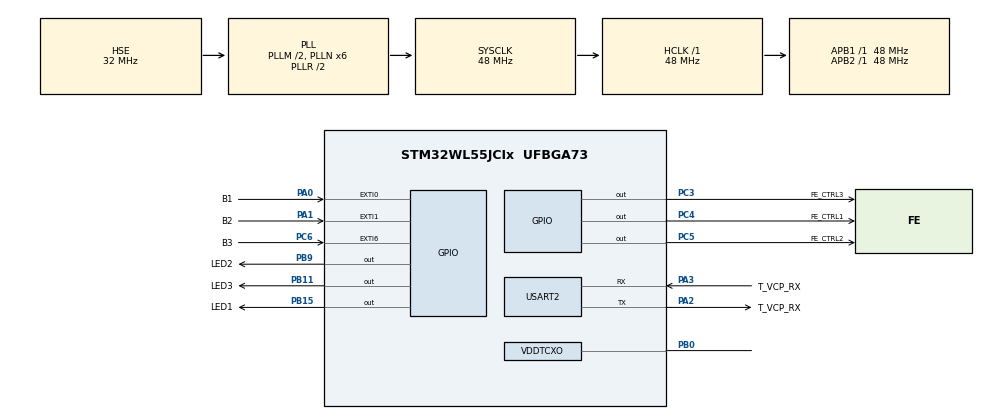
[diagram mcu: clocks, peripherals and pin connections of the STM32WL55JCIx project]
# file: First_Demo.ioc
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Mcu.Family=STM32WL
Mcu.Name=STM32WL55JCIx
Mcu.Package=UFBGA73
NVIC.PriorityGroup=NVIC_PRIORITYGROUP_4
NVIC.SUBGHZ_Radio_IRQn=true\:0\:0\:false\:false\:true\:true\:true\:true
NVIC.TIM1_UP_IRQn=true\:0\:0\:false\:false\:true\:true\:true\:true
NVIC.USART2_IRQn=true\:0\:0\:false\:false\:true\:true\:true\:true
OSC_IN.Mode=HSE-TCXO
OSC_IN.Signal=RCC_OSC_IN
PA0.GPIO_Label=B1
PA0.GPIO_ModeDefaultEXTI=GPIO_MODE_IT_FALLING
PA0.GPIO_PuPd=GPIO_PULLUP
PA0.Signal=GPXTI0
PA1.GPIO_Label=B2
PA1.GPIO_ModeDefaultEXTI=GPIO_MODE_IT_FALLING
PA1.GPIO_PuPd=GPIO_PULLUP
PA1.Signal=GPXTI1
PA2.GPIO_Label=T_VCP_RX
PA2.Mode=Asynchronous
PA2.Signal=USART2_TX
PA3.GPIO_Label=T_VCP_RX
PA3.Mode=Asynchronous
PA3.Signal=USART2_RX
PB0-VDD_TCXO.Mode=HSE-TCXO
PB0-VDD_TCXO.Signal=VDDTCXO
PB11.GPIO_Label=LED3
PB11.GPIO_Speed=GPIO_SPEED_FREQ_HIGH
PB11.Signal=GPIO_Output
PB15.GPIO_Label=LED1
PB15.GPIO_Speed=GPIO_SPEED_FREQ_HIGH
PB15.Signal=GPIO_Output
PB9.GPIO_FM9=__NULL
PB9.GPIO_Label=LED2
PB9.GPIO_Speed=GPIO_SPEED_FREQ_HIGH
PB9.Signal=GPIO_Output
PC14-OSC32_IN.Signal=RCC_OSC32_IN
PC15-OSC32_OUT.Signal=RCC_OSC32_OUT
PC3.GPIO_Label=FE_CTRL3
PC3.GPIO_Speed=GPIO_SPEED_FREQ_VERY_HIGH
PC3.Signal=GPIO_Output
PC4.GPIO_Label=FE_CTRL1
PC4.GPIO_Speed=GPIO_SPEED_FREQ_VERY_HIGH
PC4.Signal=GPIO_Output
PC5.GPIO_Label=FE_CTRL2
PC5.GPIO_Speed=GPIO_SPEED_FREQ_VERY_HIGH
PC5.Signal=GPIO_Output
PC6.GPIO_Label=B3
PC6.GPIO_ModeDefaultEXTI=GPIO_MODE_IT_FALLING
PC6.GPIO_PuPd=GPIO_PULLUP
PC6.Signal=GPXTI6
ProjectManager.HeapSize=0x200
ProjectManager.StackSize=0x400
ProjectManager.TargetToolchain=STM32CubeIDE
RCC.AHBFreq_Value=48000000
RCC.APB1Freq_Value=48000000
RCC.APB1TimFreq_Value=48000000
RCC.APB2Freq_Value=48000000
RCC.APB2TimFreq_Value=48000000
RCC.APB3Freq_Value=48000000
RCC.CortexFreq_Value=48000000
RCC.HCLKFreq_Value=48000000
RCC.HSE_VALUE=32000000
RCC.HSI_VALUE=16000000
RCC.LSE_VALUE=32768
RCC.PLLM=RCC_PLLM_DIV2
RCC.PLLN=6
RCC.PLLSourceVirtual=RCC_PLLSOURCE_HSE
RCC.SYSCLKFreq_VALUE=48000000
RCC.SYSCLKSource=RCC_SYSCLKSOURCE_PLLCLK
RCC.VCOOutputFreq_Value=96000000
TIM1.Period=1000-1
TIM1.Prescaler=48-1
USART2.VirtualMode-Asynchronous=VM_ASYNC
VP_ADV_TRACE_VS_ADV_TRACE.Mode=ADV_TRACE_Enabled
VP_MISC_VS_MISC.Mode=MISC_Enabled
VP_SEQUENCER_M4_VS_SEQUENCER.Mode=SEQUENCER_Enabled
VP_SUBGHZ_PHY_VS_SubGhzPhy.Mode=SubGhzPhy_Enabled
VP_SUBGHZ_VS_SUBGHZ.Mode=SUBGHZ_Activate
VP_TIM1_VS_ClockSourceINT.Mode=Internal
VP_TIMER_VS_TIMER.Mode=TIMER_Enabled
VP_TINY_LPM_VS_TINY_LPM.Mode=TINY_LPM_Enabled
board=NUCLEO-WL55JC2

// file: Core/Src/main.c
/* USER CODE BEGIN Header */
/**
 ******************************************************************************
 * @file           : main.c
 * @brief          : Main program body
 ******************************************************************************
 * @attention
 *
 * Copyright (c) 2024 STMicroelectronics.
 * All rights reserved.
 *
 * This software is licensed under terms that can be found in the LICENSE file
 * in the root directory of this software component.
 * If no LICENSE file comes with this software, it is provided AS-IS.
 *
 ******************************************************************************
 */
/* USER CODE END Header */
#include "main.h"
#include "app_subghz_phy.h"

/* USER CODE BEGIN Includes */
#include"radio_driver.h"
/* USER CODE END Includes */

/* USER CODE BEGIN PTD */
#define PAYLOAD_LENGTH (22)

#define FREQ_435_MHZ			(435313000)//UPLINK space to earth
#define FREQ_437_MHZ			(437375000)	//DLink earth to space

#define PA_DUTY_CYCLE			(0x40)
#define HP_MAX				(0x00)
#define PA_SEL				(0x01)

#define POWER				(0x0E)
#define RAMP_TIME				(0x01)

#define DEMO_DEFAULT_CR		1
#define DEMO_DEFAULT_DE		0
#define DEMO_DEFAULT_BR		1200
#define DEMO_DEFAULT_BT		2
#define DEMO_DEFAULT_FDEV	12500
#define DEMO_DEFAULT_RISE	2
/* USER CODE END PTD */

/* USER CODE BEGIN PD */
PacketParams_t pkt_params;
ModulationParams_t mod_params;
/* USER CODE END PD */

SUBGHZ_HandleTypeDef hsubghz;

TIM_HandleTypeDef htim1;

UART_HandleTypeDef huart2;

/* USER CODE BEGIN PV */
{
    __HAL_RCC_USART1_CLK_ENABLE();
    __HAL_RCC_GPIOA_CLK_ENABLE();

    GPIO_InitTypeDef GPIO_InitStruct = {0};
    // Configure UART TX and RX pins
    GPIO_InitStruct.Pin = GPIO_PIN_9 | GPIO_PIN_10;  // TX, RX
    GPIO_InitStruct.Mode = GPIO_MODE_AF_PP;
    GPIO_InitStruct.Pull = GPIO_NOPULL;
    GPIO_InitStruct.Speed = GPIO_SPEED_FREQ_VERY_HIGH;
    GPIO_InitStruct.Alternate = GPIO_AF7_USART1;
    HAL_GPIO_Init(GPIOA, &GPIO_InitStruct);

    // Configure UART
    huart1.Instance = USART1;
    huart1.Init.BaudRate = 115200;
    huart1.Init.WordLength = UART_WORDLENGTH_8B;
    huart1.Init.StopBits = UART_STOPBITS_1;
    huart1.Init.Parity = UART_PARITY_NONE;
    huart1.Init.Mode = UART_MODE_TX_RX;
    huart1.Init.HwFlowCtl = UART_HWCONTROL_NONE;
    huart1.Init.OverSampling = UART_OVERSAMPLING_16;
    HAL_UART_Init(&huart1);
}

/* USER CODE END PV */

void SystemClock_Config(void);
static void MX_GPIO_Init(void);
static void MX_TIM1_Init(void);
static void MX_USART2_UART_Init(void);
/* USER CODE BEGIN PFP */
void DioIrqHndlr(RadioIrqMasks_t radioIrq);
/* USER CODE END PFP */

/* USER CODE BEGIN 0 */
void HAL_TIM_PeriodElapsedCallback(TIM_HandleTypeDef *htim) {
	if (htim == &htim1) {
		mSEC++;
		if (mSEC > 999) {
			mSEC = 0;
			sec++;
		}
		if (sec > 59) {
			sec = 0;
			min++;
		}
		if (min > 59) {
			min = 0;
			hour++;
		}
		if (hour > 23) {
			hour = 0;
			min = 0;
			sec = 0;
		}
	}
}

void HAL_UART_RxCpltCallback(UART_HandleTypeDef *huart) {
	if (huart == &huart2) {
		SUBGRF_SetRfFrequency(FREQ_435_MHZ);
		SUBGRF_SetSwitch(RFO_HP, RFSWITCH_TX);
		SUBGRF_SendPayload(rx_buffer, sizeof(rx_buffer), 0);
	}
}
/* USER CODE END 0 */

int main(void) {

	/* MCU Configuration--------------------------------------------------------*/

	/* Reset of all peripherals, Initializes the Flash interface and the Systick. */
	HAL_Init();

	/* Configure the system clock */
	SystemClock_Config();

	/* Initialize all configured peripherals */
	MX_GPIO_Init();
	MX_TIM1_Init();
	MX_USART2_UART_Init();
	MX_SubGHz_Phy_Init();
	/* USER CODE BEGIN 2 */
	HAL_TIM_Base_Start_IT(&htim1);

	pkt_params.PacketType = PACKET_TYPE_GFSK;
	pkt_params.Params.Gfsk.PayloadLength = PAYLOAD_LENGTH;
	pkt_params.Params.Gfsk.PreambleLength = 8;/*Convert byte into bit*/
	pkt_params.Params.Gfsk.PreambleMinDetect = RADIO_PREAMBLE_DETECTOR_08_BITS;
	pkt_params.Params.Gfsk.SyncWordLength = 3 << 3; //convert byte into bit
	pkt_params.Params.Gfsk.AddrComp = RADIO_ADDRESSCOMP_FILT_OFF;
	pkt_params.Params.Gfsk.HeaderType = RADIO_PACKET_FIXED_LENGTH;
	pkt_params.Params.Gfsk.CrcLength = RADIO_CRC_2_BYTES_CCIT;
	pkt_params.Params.Gfsk.DcFree = RADIO_DC_FREEWHITENING;

	mod_params.PacketType = PACKET_TYPE_GFSK;
	mod_params.Params.Gfsk.Bandwidth = RX_BW_29300;/*Not used in TX*/
	mod_params.Params.Gfsk.BitRate = DEMO_DEFAULT_BR;
	mod_params.Params.Gfsk.Fdev = DEMO_DEFAULT_FDEV;
	mod_params.Params.Gfsk.ModulationShaping = MOD_SHAPING_G_BT_1;

	SUBGRF_Init(DioIrqHndlr);
	SUBGRF_SetBufferBaseAddress(0x00, 0x00);
	SUBGRF_SetPayload(main_cmd, PAYLOAD_LENGTH);
	SUBGRF_SetPacketParams(&pkt_params);
	SUBGRF_SetSyncWord((uint8_t[] ) { 0xc1, 0x94, 0xc1, 0x00, 0x00, 0x00, 0x00,
					0x00 });

	SUBGRF_SetWhiteningSeed(0x01FF);
	SUBGRF_SetRfFrequency(FREQ_435_MHZ);
	SUBGRF_SetPaConfig(PA_DUTY_CYCLE, HP_MAX, PA_SEL, 0x01);
	SUBGRF_SetTxParams(RFO_HP, POWER, RAMP_TIME);
	SUBGRF_SetModulationParams(&mod_params);
	SUBGRF_SetDioIrqParams(
			IRQ_TX_DONE | IRQ_PREAMBLE_DETECTED | IRQ_RX_DONE
					| IRQ_RX_TX_TIMEOUT | IRQ_SYNCWORD_VALID,
			IRQ_TX_DONE | IRQ_PREAMBLE_DETECTED | IRQ_RX_DONE
					| IRQ_RX_TX_TIMEOUT | IRQ_SYNCWORD_VALID, IRQ_RADIO_NONE,
			IRQ_RADIO_NONE);

	/* USER CODE END 2 */

	/* Infinite loop */
	/* USER CODE BEGIN WHILE */
	while (1) {
//		HAL_UART_Transmit(&huart2, name, 6, 1000);
//		HAL_Delay(1000);

		HAL_UART_Receive_IT(&huart2, rx_buffer, 5);

		/* USER CODE END WHILE */
		MX_SubGHz_Phy_Process();

	}
}

void SystemClock_Config(void) {
	RCC_OscInitTypeDef RCC_OscInitStruct = { 0 };
	RCC_ClkInitTypeDef RCC_ClkInitStruct = { 0 };

	/** Configure the main internal regulator output voltage
	 */
	__HAL_PWR_VOLTAGESCALING_CONFIG(PWR_REGULATOR_VOLTAGE_SCALE1);

	/** Initializes the CPU, AHB and APB buses clocks
	 */
	RCC_OscInitStruct.OscillatorType = RCC_OSCILLATORTYPE_HSE;
	RCC_OscInitStruct.HSEState = RCC_HSE_BYPASS_PWR;
	RCC_OscInitStruct.HSEDiv = RCC_HSE_DIV1;
	RCC_OscInitStruct.PLL.PLLState = RCC_PLL_ON;
	RCC_OscInitStruct.PLL.PLLSource = RCC_PLLSOURCE_HSE;
	RCC_OscInitStruct.PLL.PLLM = RCC_PLLM_DIV2;
	RCC_OscInitStruct.PLL.PLLN = 6;
	RCC_OscInitStruct.PLL.PLLP = RCC_PLLP_DIV2;
	RCC_OscInitStruct.PLL.PLLR = RCC_PLLR_DIV2;
	RCC_OscInitStruct.PLL.PLLQ = RCC_PLLQ_DIV2;
	if (HAL_RCC_OscConfig(&RCC_OscInitStruct) != HAL_OK) {
		Error_Handler();
	}

	/** Configure the SYSCLKSource, HCLK, PCLK1 and PCLK2 clocks dividers
	 */
	RCC_ClkInitStruct.ClockType = RCC_CLOCKTYPE_HCLK3 | RCC_CLOCKTYPE_HCLK
			| RCC_CLOCKTYPE_SYSCLK | RCC_CLOCKTYPE_PCLK1 | RCC_CLOCKTYPE_PCLK2;
	RCC_ClkInitStruct.SYSCLKSource = RCC_SYSCLKSOURCE_PLLCLK;
	RCC_ClkInitStruct.AHBCLKDivider = RCC_SYSCLK_DIV1;
	RCC_ClkInitStruct.APB1CLKDivider = RCC_HCLK_DIV1;
	RCC_ClkInitStruct.APB2CLKDivider = RCC_HCLK_DIV1;
	RCC_ClkInitStruct.AHBCLK3Divider = RCC_SYSCLK_DIV1;

	if (HAL_RCC_ClockConfig(&RCC_ClkInitStruct, FLASH_LATENCY_2) != HAL_OK) {
		Error_Handler();
	}
}

void MX_SUBGHZ_Init(void) {

	hsubghz.Init.BaudratePrescaler = SUBGHZSPI_BAUDRATEPRESCALER_8;
	if (HAL_SUBGHZ_Init(&hsubghz) != HAL_OK) {
		Error_Handler();
	}

}

static void MX_TIM1_Init(void) {

	TIM_ClockConfigTypeDef sClockSourceConfig = { 0 };
	TIM_MasterConfigTypeDef sMasterConfig = { 0 };

	htim1.Instance = TIM1;
	htim1.Init.Prescaler = 48 - 1;
	htim1.Init.CounterMode = TIM_COUNTERMODE_UP;
	htim1.Init.Period = 1000 - 1;
	htim1.Init.ClockDivision = TIM_CLOCKDIVISION_DIV1;
	htim1.Init.RepetitionCounter = 0;
	htim1.Init.AutoReloadPreload = TIM_AUTORELOAD_PRELOAD_DISABLE;
	if (HAL_TIM_Base_Init(&htim1) != HAL_OK) {
		Error_Handler();
	}
	sClockSourceConfig.ClockSource = TIM_CLOCKSOURCE_INTERNAL;
	if (HAL_TIM_ConfigClockSource(&htim1, &sClockSourceConfig) != HAL_OK) {
		Error_Handler();
	}
	sMasterConfig.MasterOutputTrigger = TIM_TRGO_RESET;
	sMasterConfig.MasterOutputTrigger2 = TIM_TRGO2_RESET;
	sMasterConfig.MasterSlaveMode = TIM_MASTERSLAVEMODE_DISABLE;
	if (HAL_TIMEx_MasterConfigSynchronization(&htim1, &sMasterConfig)
			!= HAL_OK) {
		Error_Handler();
	}

}

static void MX_USART2_UART_Init(void) {

	huart2.Instance = USART2;
	huart2.Init.BaudRate = 115200;
	huart2.Init.WordLength = UART_WORDLENGTH_8B;
	huart2.Init.StopBits = UART_STOPBITS_1;
	huart2.Init.Parity = UART_PARITY_NONE;
	huart2.Init.Mode = UART_MODE_TX_RX;
	huart2.Init.HwFlowCtl = UART_HWCONTROL_NONE;
	huart2.Init.OverSampling = UART_OVERSAMPLING_16;
	huart2.Init.OneBitSampling = UART_ONE_BIT_SAMPLE_DISABLE;
	huart2.Init.ClockPrescaler = UART_PRESCALER_DIV1;
	huart2.AdvancedInit.AdvFeatureInit = UART_ADVFEATURE_NO_INIT;
	if (HAL_UART_Init(&huart2) != HAL_OK) {
		Error_Handler();
	}
	if (HAL_UARTEx_SetTxFifoThreshold(&huart2, UART_TXFIFO_THRESHOLD_1_8)
			!= HAL_OK) {
		Error_Handler();
	}
	if (HAL_UARTEx_SetRxFifoThreshold(&huart2, UART_RXFIFO_THRESHOLD_1_8)
			!= HAL_OK) {
		Error_Handler();
	}
	if (HAL_UARTEx_DisableFifoMode(&huart2) != HAL_OK) {
		Error_Handler();
	}

}

static void MX_GPIO_Init(void) {
	GPIO_InitTypeDef GPIO_InitStruct = { 0 };

	/* GPIO Ports Clock Enable */
	__HAL_RCC_GPIOB_CLK_ENABLE();
	__HAL_RCC_GPIOC_CLK_ENABLE();
	__HAL_RCC_GPIOA_CLK_ENABLE();

	/*Configure GPIO pin Output Level */
	HAL_GPIO_WritePin(GPIOB, LED1_Pin | LED2_Pin | LED3_Pin, GPIO_PIN_RESET);

	/*Configure GPIO pin Output Level */
	HAL_GPIO_WritePin(GPIOC, FE_CTRL3_Pin | FE_CTRL2_Pin | FE_CTRL1_Pin,
			GPIO_PIN_RESET);

	/*Configure GPIO pins : LED1_Pin LED2_Pin LED3_Pin */
	GPIO_InitStruct.Pin = LED1_Pin | LED2_Pin | LED3_Pin;
	GPIO_InitStruct.Mode = GPIO_MODE_OUTPUT_PP;
	GPIO_InitStruct.Pull = GPIO_NOPULL;
	GPIO_InitStruct.Speed = GPIO_SPEED_FREQ_HIGH;
	HAL_GPIO_Init(GPIOB, &GPIO_InitStruct);

	/*Configure GPIO pins : FE_CTRL3_Pin FE_CTRL2_Pin FE_CTRL1_Pin */
	GPIO_InitStruct.Pin = FE_CTRL3_Pin | FE_CTRL2_Pin | FE_CTRL1_Pin;
	GPIO_InitStruct.Mode = GPIO_MODE_OUTPUT_PP;
	GPIO_InitStruct.Pull = GPIO_NOPULL;
	GPIO_InitStruct.Speed = GPIO_SPEED_FREQ_VERY_HIGH;
	HAL_GPIO_Init(GPIOC, &GPIO_InitStruct);

	/*Configure GPIO pins : B1_Pin B2_Pin */
	GPIO_InitStruct.Pin = B1_Pin | B2_Pin;
	GPIO_InitStruct.Mode = GPIO_MODE_IT_FALLING;
	GPIO_InitStruct.Pull = GPIO_PULLUP;
	HAL_GPIO_Init(GPIOA, &GPIO_InitStruct);

	/*Configure GPIO pin : B3_Pin */
	GPIO_InitStruct.Pin = B3_Pin;
	GPIO_InitStruct.Mode = GPIO_MODE_IT_FALLING;
	GPIO_InitStruct.Pull = GPIO_PULLUP;
	HAL_GPIO_Init(B3_GPIO_Port, &GPIO_InitStruct);

}

/* USER CODE BEGIN 4 */
void DioIrqHndlr(RadioIrqMasks_t radioIrq) {
	if (radioIrq == IRQ_TX_DONE) {
		i++;
		SUBGRF_SetRfFrequency(FREQ_435_MHZ);
		SUBGRF_SetSwitch(RFO_HP, RFSWITCH_RX);
		SUBGRF_SetRxBoosted(0xFFFFF);
	} else if (radioIrq == IRQ_RX_DONE) {
		SUBGRF_GetPayload(main_cmd, &pLen, PAYLOAD_LENGTH);
		HAL_UART_Transmit(&huart2, main_cmd, 5, 2000);
		i++;
	}
}
/* USER CODE END 4 */

void Error_Handler(void) {
	__disable_irq();
	while (1) {
	}
}
